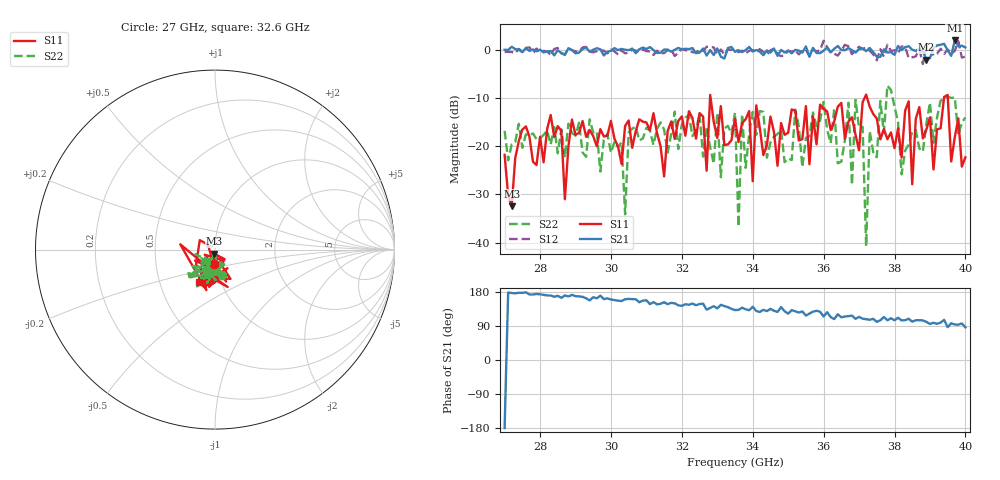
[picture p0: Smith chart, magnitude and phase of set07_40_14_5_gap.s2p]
! Quiescent point : V1=-1.65691E-02 I1=+1.29242E-03 V2=-2.22638E-02 I2=-1.31894E-03
! Pulsed point : V1=-1.63289E-02 I1=+1.31774E-03 V2=-2.24770E-02 I2=-1.33197E-03
! Period : +2.00000E-04
! Input Supply timing : delay=+1.60000E-06 width=+2.20000E-06
! Output Supply timing : delay=+1.70000E-06 width=+2.00000E-06
! VNA timing : delay=+2.40000E-06 width=+1.10000E-06
# Hz S RI R 50
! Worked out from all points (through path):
!   131 points, 27 GHz to 40 GHz, reference 50 ohm
!   highest |S21| = 1.92 dB at 39.7 GHz (marker M1); lowest = -2.0 dB at 38.9 GHz (marker M2)
!   group delay of S21, straight-line fit = 18.7 ps
!   lowest |S11| = -32.4 dB at 27.2 GHz (marker M3), VSWR 1.05, Z = 49.6 - j2.34 ohm
!   |S11| at or under -10 dB: start of sweep to 32.8 GHz; 32.81 GHz to 37.16 GHz (4.345 GHz wide, 12.4 % of centre); 37.23 GHz to 39.4 GHz (2.169 GHz wide, 5.66 % of centre)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
!   |S22| runs from -40.7 to -7.4 dB; largest |S21 - S12| = 0.34
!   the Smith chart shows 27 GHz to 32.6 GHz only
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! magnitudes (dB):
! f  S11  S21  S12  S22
! 27 GHz  -21.8  0.0  -0.4  -16.8
! 27.2 GHz  -32.4  0.6  -0.5  -19.6
! 29.2 GHz  -14.8  0.2  0.5  -21.3
! 30.3 GHz  -23.7  0.2  -0.2  -19.2
! 30.4 GHz  -15.8  0.0  -0.8  -34.1
! 30.5 GHz  -14.7  -0.1  -0.6  -17.1
! 31.4 GHz  -20.0  -0.6  -0.8  -15.1
! 33.5 GHz  -14.3  -0.4  0.2  -13.1
! 33.6 GHz  -19.1  -0.1  -0.5  -36.7
! 33.7 GHz  -15.2  -0.5  -0.2  -13.4
! 35.7 GHz  -13.8  0.4  0.0  -13.0
! 36.7 GHz  -14.9  0.3  0.7  -11.0
! 36.8 GHz  -14.0  -0.1  -0.9  -28.0
! 36.9 GHz  -17.6  -0.6  0.0  -10.4
! 37.1 GHz  -10.9  0.2  0.2  -16.0
! 37.2 GHz  -9.3  -0.3  0.4  -40.7
! 37.3 GHz  -11.8  0.4  -0.2  -16.9
! 37.9 GHz  -17.1  -0.5  -0.3  -8.4
! 38.2 GHz  -22.4  -0.1  0.7  -25.8
! 38.9 GHz  -16.5  -2.0  0.8  -15.3
! 39.7 GHz  -18.2  1.9  -0.3  -9.9
! 40 GHz  -22.3  0.5  -1.4  -14.0
